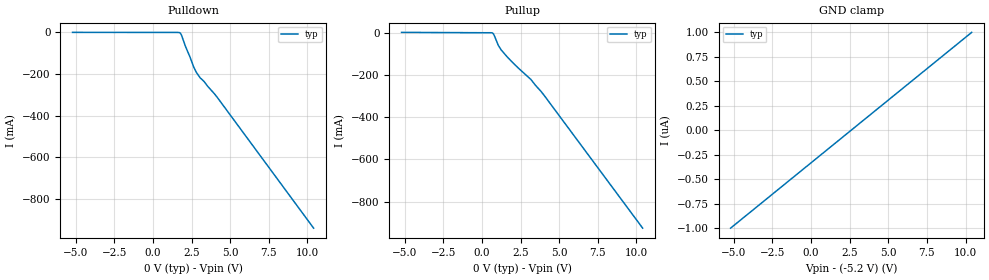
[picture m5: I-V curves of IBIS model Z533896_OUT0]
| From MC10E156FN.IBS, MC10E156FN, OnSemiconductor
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| (C) COPYRIGHT 1993-2000
| MENTOR GRAPHICS CORPORATION
| ICX STANDARD LIBRARY, ICX PROJECT MODELING,
| ICX CUSTOM MODELING, ICX VENDOR MODEL
| ALL RIGHTS RESERVED.
| THE FOLLOWING ARE TRADEMARKS OR SERVICE MARKS OF
| MENTOR GRAPHICS CORPORATION:ICX (R), ICX STANDARD
| LIBRARY(R), ICX PROJECT MODELING(R), ICX CUSTOM
| MODELING(R), qualityIBIS(TM), MODELVIEWER(TM),
| AND MODELEDITOR(TM)
| ALL COPIES OF SOFTWARE, INCLUDING BUT NOT LIMITED TO
| ANY MODIFICATIONS, ENHANCEMENTS OR DERIVATIVE WORKS,
| MUST CONTAIN ALL MENTOR GRAPHICS CORPORATION'S
| NOTICES AND LEGENDS, INCLUDING THOSE EMBEDDED IN
| SOFTWARE AND THOSE AFFIXED TO SOFTWARE MEDIUM
| AND CONTAINER, AS RECEIVED FROM MENTOR GRAPHICS
| CORPORATION.
| Model Application Version 1.89 2/18/99.
[Model] Z533896_OUT0
Model_type Output_ECL
Vref=-2.000V
Rref=50.00ohms
Cref=0.000F
Vmeas=-1.305V
C_comp 8.000pF NA NA
| variable typ   min   max
[Voltage Range] -5.200V NA NA
[POWER Clamp Reference] 0.000V NA NA
[Pullup Reference] 0.000V NA NA
[Pulldown Reference] 0.000V NA NA
[GND Clamp Reference] -5.200V NA NA
[GND Clamp]
-5.2V     -1uA       NA         NA
10.4V     1uA        NA         NA
[Pulldown]
-5.2V     369.6uA    NA         NA
1.605V    8.024uA    NA         NA
1.782V    -3.559mA   NA         NA
1.85V     -12.45mA   NA         NA
2.106V    -66.37mA   NA         NA
2.41V     -119.4mA   NA         NA
2.637V    -165.2mA   NA         NA
2.81V     -191.4mA   NA         NA
3.063V    -218.2mA   NA         NA
3.304V    -234.7mA   NA         NA
4.178V    -313mA     NA         NA
10.4V     -939.8mA   NA         NA
[Pullup]
-5.2V     1.587mA    NA         NA
702.6mV   -2.333mA   NA         NA
810.5mV   -14.98mA   NA         NA
1.058V    -59.56mA   NA         NA
1.251V    -82.1mA    NA         NA
2.023V    -143.9mA   NA         NA
3.159V    -220.8mA   NA         NA
3.999V    -294.3mA   NA         NA
10.4V     -926.2mA   NA         NA
[POWER Clamp]
-5.2V     0A         NA         NA
10.4V     0A         NA         NA
[Ramp]
| variable typ min max
dV/dt_r 598.7m/243.1p NA NA
dV/dt_f 598.7m/329.3p NA NA
R_load = 500.0Ohms
